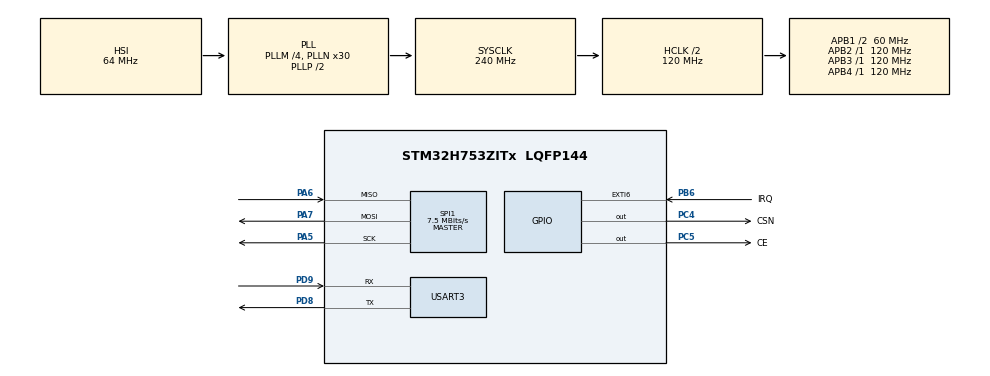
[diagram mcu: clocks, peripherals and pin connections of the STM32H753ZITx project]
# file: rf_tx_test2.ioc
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CORTEX_M7.CPU_DCache=Disabled
CORTEX_M7.CPU_ICache=Disabled
CORTEX_M7.MPU_Control=__NULL
CORTEX_M7.default_mode_Activation=1
Mcu.Family=STM32H7
Mcu.Name=STM32H753ZITx
Mcu.Package=LQFP144
NUCLEO-H753ZI.BUTTON=1
NUCLEO-H753ZI.LD1=true
NUCLEO-H753ZI.LD2=true
NUCLEO-H753ZI.LD3=true
NUCLEO-H753ZI.VCP=false
NVIC.EXTI15_10_IRQn=true\:0\:0\:false\:false\:true\:false\:true\:true
NVIC.EXTI9_5_IRQn=true\:0\:0\:false\:false\:true\:true\:true\:true
NVIC.PriorityGroup=NVIC_PRIORITYGROUP_4
NVIC.SPI1_IRQn=true\:0\:0\:false\:false\:true\:true\:true\:true
NVIC.USART3_IRQn=true\:0\:0\:false\:false\:true\:true\:true\:true
PA5.Mode=Full_Duplex_Master
PA5.Signal=SPI1_SCK
PA6.Mode=Full_Duplex_Master
PA6.Signal=SPI1_MISO
PA7.Mode=Full_Duplex_Master
PA7.Signal=SPI1_MOSI
PB6.GPIO_Label=IRQ
PB6.GPIO_ModeDefaultEXTI=GPIO_MODE_IT_FALLING
PB6.GPIO_PuPd=GPIO_PULLUP
PB6.Signal=GPXTI6
PC14-OSC32_IN\ (OSC32_IN).Signal=RCC_OSC32_IN
PC15-OSC32_OUT\ (OSC32_OUT).Signal=RCC_OSC32_OUT
PC4.GPIO_Label=CSN
PC4.GPIO_Speed=GPIO_SPEED_FREQ_HIGH
PC4.Signal=GPIO_Output
PC5.GPIO_Label=CE
PC5.GPIO_Speed=GPIO_SPEED_FREQ_HIGH
PC5.Signal=GPIO_Output
PD8.Mode=Asynchronous
PD8.Signal=USART3_TX
PD9.Mode=Asynchronous
PD9.Signal=USART3_RX
PH0-OSC_IN\ (PH0).Signal=RCC_OSC_IN
PH1-OSC_OUT\ (PH1).Signal=RCC_OSC_OUT
ProjectManager.HeapSize=0x200
ProjectManager.StackSize=0x400
ProjectManager.TargetToolchain=STM32CubeIDE
RCC.ADCFreq_Value=129000000
RCC.APB1Freq_Value=60000000
RCC.APB2Freq_Value=120000000
RCC.APB3Freq_Value=120000000
RCC.APB4Freq_Value=120000000
RCC.CortexFreq_Value=240000000
RCC.D2PPRE1=RCC_APB1_DIV2
RCC.DIVM1=4
RCC.DIVN1=30
RCC.DIVQ1=4
RCC.HCLKFreq_Value=120000000
RCC.HPRE=RCC_HCLK_DIV2
RCC.HSE_VALUE=8000000
RCC.PLL2FRACN=0
RCC.PLL3FRACN=0
RCC.PLLFRACN=0
RCC.PWR_Regulator_Voltage_Scale=PWR_REGULATOR_VOLTAGE_SCALE2
RCC.SYSCLKFreq_VALUE=240000000
RCC.SYSCLKSource=RCC_SYSCLKSOURCE_PLLCLK
RCC.USBFreq_Value=120000000
SPI1.BaudRatePrescaler=SPI_BAUDRATEPRESCALER_16
SPI1.CalculateBaudRate=7.5 MBits/s
SPI1.DataSize=SPI_DATASIZE_8BIT
SPI1.Direction=SPI_DIRECTION_2LINES
SPI1.Mode=SPI_MODE_MASTER
SPI1.VirtualType=VM_MASTER
TIM6.Prescaler=63
USART3.VirtualMode-Asynchronous=VM_ASYNC
VP_MEMORYMAP_VS_MEMORYMAP.Mode=CurAppReg
VP_NUCLEO-H753ZI_VS_BSP_COMMON.Mode=COMMON
VP_TIM6_VS_ClockSourceINT.Mode=Enable_Timer
board=NUCLEO-H753ZI

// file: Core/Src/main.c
/* USER CODE BEGIN Header */
/**
  ******************************************************************************
  * @file           : main.c
  * @brief          : Main program body
  ******************************************************************************
  * @attention
  *
  * Copyright (c) 2026 STMicroelectronics.
  * All rights reserved.
  *
  * This software is licensed under terms that can be found in the LICENSE file
  * in the root directory of this software component.
  * If no LICENSE file comes with this software, it is provided AS-IS.
  *
  ******************************************************************************
  */
/* USER CODE END Header */
#include "main.h"
#include "spi.h"
#include "tim.h"
#include "usart.h"
#include "gpio.h"

/* USER CODE BEGIN Includes */
#include <strings.h>
#include <string.h>
#include <stdio.h>
#include <stdlib.h>
#include <stdbool.h>
#include "NRF24.h"
#include "NRF24_reg_addresses.h"
/* USER CODE END Includes */

/* USER CODE BEGIN PD */
#define PLD_SIZE 16
#define UART_BUF_SIZE 64

/* USER CODE END PD */

void SystemClock_Config(void);
/* USER CODE BEGIN PFP */
void HAL_GPIO_EXTI_Callback(uint16_t GPIO_Pin);
void RECEIVE_LOG();
void DEBUG_RF();
/* USER CODE END PFP */

/* USER CODE BEGIN 0 */
// USART3 Variables
char uart_buf[PLD_SIZE];
uint8_t uart_index = 0;
uint8_t uart_char;
uint8_t command_ready = 0;
// RF Variables
uint8_t data_Rx[PLD_SIZE*5];
uint8_t ack_R[PLD_SIZE] = { "Received" };
uint8_t ack_T[PLD_SIZE];
char complete_msg[10] = "COMPLETE\n";
char rf_error_msg[10] = "RF_ERROR\n";
char rf_timeout_msg[9] = "TIMEOUT\n";
volatile uint8_t nrf_irq_flag = 0;
uint32_t timeout;
// Logging variables
bool logging = false;
uint16_t log_rate = 100; // Default logging rate in ms

typedef struct __attribute__((packed)) {
    uint32_t time;
    uint16_t engine_rpm;
    uint16_t box_rpm;
} CompactLogEntry;

typedef struct
{
    float Kp;
    float Ki;
    float Kd;
} PID_Param;
// 0 RPM Low
// 1 Low Gear
// 2 RPM High
// 3 High Gear
PID_Param PID_Values[4];

typedef struct {
	uint32_t time;
	uint32_t engine_rpm;
	uint32_t box_rpm;
} LogEntry;

char msg[128];

uint8_t addr_gui[5]  = {0x10,0x21,0x32,0x43,0x54};
uint8_t addr_ecvt[5] = {0x20,0x21,0x32,0x43,0x54};

/* USER CODE END 0 */

int main(void)
{

  /* MCU Configuration--------------------------------------------------------*/

  /* Reset of all peripherals, Initializes the Flash interface and the Systick. */
  HAL_Init();

  /* Configure the system clock */
  SystemClock_Config();

  /* Initialize all configured peripherals */
  MX_GPIO_Init();
  MX_SPI1_Init();
  MX_TIM6_Init();
  MX_USART3_UART_Init();
  /* USER CODE BEGIN 2 */
  csn_high();
  nrf24_init();
  nrf24_tx_pwr(_0dbm);
  nrf24_data_rate(_2mbps);
  nrf24_set_channel(7);
  nrf24_set_crc(en_crc, _1byte);
  nrf24_pipe_pld_size(0, PLD_SIZE);

//  uint8_t addr[5] = {0x10, 0x21, 0x32, 0x43, 0x54};
//  nrf24_open_tx_pipe(addr);
//  nrf24_open_rx_pipe(0, addr);

  // --- In your initialization (User Code 2) ---

  nrf24_auto_ack_all(enable);     // Enable ACKs for all pipes
  nrf24_auto_retr_delay(5);       // Set delay (5 = 1500us). Critical for reliable ACKs.
  nrf24_auto_retr_limit(15);      // Try up to 15 times before giving up
  nrf24_mode_tx(addr_ecvt);
  /* USER CODE END 2 */

  /* Initialize leds */
  BSP_LED_Init(LED_GREEN);
  BSP_LED_Init(LED_BLUE);
  BSP_LED_Init(LED_RED);

  /* Initialize USER push-button, will be used to trigger an interrupt each time it's pressed.*/
  BSP_PB_Init(BUTTON_USER, BUTTON_MODE_EXTI);

  /* Infinite loop */
  /* USER CODE BEGIN WHILE */
  while (1){
	  // USART Receive from GUI
	  if (__HAL_UART_GET_FLAG(&huart3, UART_FLAG_RXNE)){
		  HAL_UART_Receive(&huart3, &uart_char, 1, 0);

		  if (uart_char == '\n' || uart_char == '\r')
		  {

			  uart_buf[uart_index] = '\0';
			  uart_index = 0;
			  command_ready = 1;
		  }
		  else
		  {
			  if (uart_index < UART_BUF_SIZE - 1)
				  uart_buf[uart_index++] = uart_char;
		  }
	  }

	  // Process command
	  if (command_ready){
		  command_ready = 0;

		  // Transmit the command over RF
		  uint8_t result = nrf24_transmit_wait((uint8_t*)uart_buf, sizeof(uart_buf));

		  // Check for specific commands
		  if (strcmp((char*)uart_buf, "DOWNLOAD_LOG") == 0){
			  if(result == 0) {
				  BSP_LED_On(LED_GREEN);
				  RECEIVE_LOG();
				  HAL_UART_Transmit(&huart3, (uint8_t*)complete_msg, 10, HAL_MAX_DELAY);
				  BSP_LED_Off(LED_GREEN);
			  } else { // Error in RF Transmission
				  BSP_LED_On(LED_RED);
				  HAL_UART_Transmit(&huart3, (uint8_t*)rf_error_msg, 10, HAL_MAX_DELAY);
			  }
		  }

		  else if(strncmp((char*)uart_buf, "PID",3) == 0){
			  BSP_LED_Toggle(LED_GREEN);
			  if(result == 0){ // Success
				  HAL_UART_Transmit(&huart3, (uint8_t*)complete_msg, 10, HAL_MAX_DELAY);
			  } else{ 		   // Failed
				  HAL_UART_Transmit(&huart3, (uint8_t*)rf_error_msg, 10, HAL_MAX_DELAY);
			  }
		  }

		  else if(strncmp((char*)uart_buf, "TEST_RF", 7) == 0){
			  BSP_LED_Toggle(LED_GREEN);
			  if(result == 0){ // Success
				  HAL_UART_Transmit(&huart3, (uint8_t*)complete_msg, 10, HAL_MAX_DELAY);
			  } else{ 		   // Failed
				  HAL_UART_Transmit(&huart3, (uint8_t*)rf_error_msg, 10, HAL_MAX_DELAY);
			  }

		  }
	  }
  }
    /* USER CODE END WHILE */

}

void SystemClock_Config(void)
{
  RCC_OscInitTypeDef RCC_OscInitStruct = {0};
  RCC_ClkInitTypeDef RCC_ClkInitStruct = {0};

  /** Supply configuration update enable
  */
  HAL_PWREx_ConfigSupply(PWR_LDO_SUPPLY);

  /** Configure the main internal regulator output voltage
  */
  __HAL_PWR_VOLTAGESCALING_CONFIG(PWR_REGULATOR_VOLTAGE_SCALE2);

  while(!__HAL_PWR_GET_FLAG(PWR_FLAG_VOSRDY)) {}

  /** Initializes the RCC Oscillators according to the specified parameters
  * in the RCC_OscInitTypeDef structure.
  */
  RCC_OscInitStruct.OscillatorType = RCC_OSCILLATORTYPE_HSI;
  RCC_OscInitStruct.HSIState = RCC_HSI_DIV1;
  RCC_OscInitStruct.HSICalibrationValue = RCC_HSICALIBRATION_DEFAULT;
  RCC_OscInitStruct.PLL.PLLState = RCC_PLL_ON;
  RCC_OscInitStruct.PLL.PLLSource = RCC_PLLSOURCE_HSI;
  RCC_OscInitStruct.PLL.PLLM = 4;
  RCC_OscInitStruct.PLL.PLLN = 30;
  RCC_OscInitStruct.PLL.PLLP = 2;
  RCC_OscInitStruct.PLL.PLLQ = 4;
  RCC_OscInitStruct.PLL.PLLR = 2;
  RCC_OscInitStruct.PLL.PLLRGE = RCC_PLL1VCIRANGE_3;
  RCC_OscInitStruct.PLL.PLLVCOSEL = RCC_PLL1VCOWIDE;
  RCC_OscInitStruct.PLL.PLLFRACN = 0;
  if (HAL_RCC_OscConfig(&RCC_OscInitStruct) != HAL_OK)
  {
    Error_Handler();
  }

  /** Initializes the CPU, AHB and APB buses clocks
  */
  RCC_ClkInitStruct.ClockType = RCC_CLOCKTYPE_HCLK|RCC_CLOCKTYPE_SYSCLK
                              |RCC_CLOCKTYPE_PCLK1|RCC_CLOCKTYPE_PCLK2
                              |RCC_CLOCKTYPE_D3PCLK1|RCC_CLOCKTYPE_D1PCLK1;
  RCC_ClkInitStruct.SYSCLKSource = RCC_SYSCLKSOURCE_PLLCLK;
  RCC_ClkInitStruct.SYSCLKDivider = RCC_SYSCLK_DIV1;
  RCC_ClkInitStruct.AHBCLKDivider = RCC_HCLK_DIV2;
  RCC_ClkInitStruct.APB3CLKDivider = RCC_APB3_DIV1;
  RCC_ClkInitStruct.APB1CLKDivider = RCC_APB1_DIV2;
  RCC_ClkInitStruct.APB2CLKDivider = RCC_APB2_DIV1;
  RCC_ClkInitStruct.APB4CLKDivider = RCC_APB4_DIV1;

  if (HAL_RCC_ClockConfig(&RCC_ClkInitStruct, FLASH_LATENCY_2) != HAL_OK)
  {
    Error_Handler();
  }
}

/* USER CODE BEGIN 4 */
void HAL_GPIO_EXTI_Callback(uint16_t GPIO_Pin)
{
    if(GPIO_Pin == IRQ_Pin)
    {
        nrf_irq_flag = 1;
    }
}

void RECEIVE_LOG(){
  nrf24_flush_rx();
  HAL_Delay(2);
  nrf24_mode_rx(addr_gui);

  uint32_t rx_timeout = HAL_GetTick();

  int log_index = 0;
  int log_lines = 0;

  // Wait to receive transmission (delayed switching)
  // Get the number of lines in the log file (For memory malloc)
  int timeout_flag = 1;
  while (HAL_GetTick() - rx_timeout < 10000) { // 10s window
	  if (nrf24_data_available()) {
		  nrf24_receive(data_Rx, PLD_SIZE);
		  timeout_flag = 0;
		  break;
	  }
  }
  if(timeout_flag){
	  nrf24_mode_tx(addr_ecvt);
	  DEBUG_RF();
	  BSP_LED_On(LED_RED);
	  return;
  } else{
	  sscanf((char*)data_Rx, "%d", &log_lines);
	  nrf24_flush_rx(); // Clear buffer after reading
  }

  // Malloc memory to save log file in memory
  CompactLogEntry *log_buffer = malloc(log_lines * sizeof(CompactLogEntry));
  if (log_buffer == NULL) {
      // Allocation failed
      nrf24_mode_tx(addr_ecvt);
      return;
  }

  // Begin receiving log file
  //TODO: Ensure this doesn't get stuck
  while (1) {
	  DEBUG_RF();
	  if (nrf24_data_available()) {
		  nrf24_receive(data_Rx, PLD_SIZE);
		  BSP_LED_Toggle(LED_GREEN);

		  if(strncmp((char*)data_Rx, complete_msg, 8) == 0){
			  break;
		  }

		  log_buffer[log_index] = *(CompactLogEntry*)data_Rx;
		  log_index++;

	  }
  }

  nrf24_mode_tx(addr_ecvt);

  // Begin sending data over USART
  char logfile_buf[128];
  for(int i = 0; i < log_index; i++){
	  sprintf(logfile_buf, "%lu, %u, %u\r\n",
	              log_buffer[i].time,
	              (unsigned int)log_buffer[i].engine_rpm,
	              (unsigned int)log_buffer[i].box_rpm);
	  HAL_UART_Transmit(&huart3, (uint8_t*)logfile_buf, strlen(logfile_buf), 100);
  }
}

void DEBUG_RF(){
	//Status register
//	uint8_t status = nrf24_r_status();
//	uint8_t fifo_status = nrf24_r_reg(FIFO_STATUS, 1);
	//uint8_t observe = nrf24_r_reg(OBSERVE_TX, 1);
//	sprintf(msg, "%d %d %d\r\n", status, fifo_status, observe);
//	HAL_UART_Transmit(&huart3, (uint8_t*)msg, strlen(msg), HAL_MAX_DELAY);

//	if (status & (1 << MAX_RT)) {
//		BSP_LED_On(LED_RED);
//	}
//
//	if (status & (1 << TX_FULL)) {
//		BSP_LED_On(LED_RED);
//	}
//
//	if (fifo_status & (1 << RX_FULL)) {
//		BSP_LED_On(LED_RED);
//	}

	// Check for "Carrier Detect" - helps identify interference
	if (nrf24_carrier_detect()) {
		BSP_LED_On(LED_RED);
	} else{
		BSP_LED_Off(LED_RED);
	}
}
/* USER CODE END 4 */

void Error_Handler(void)
{
  __disable_irq();
  while (1)
  {
  }
}
